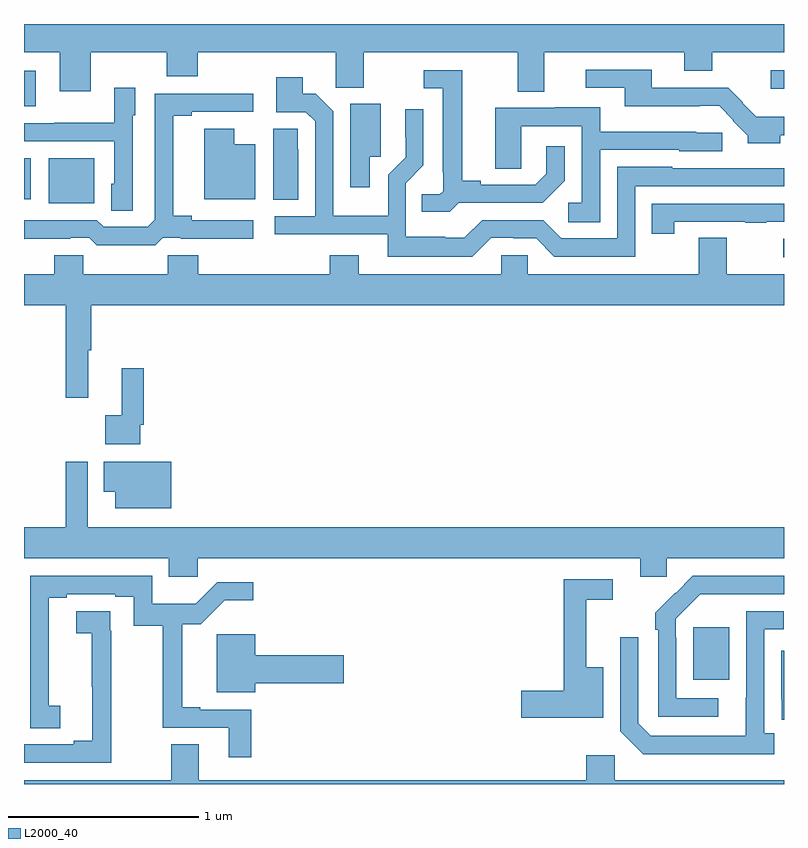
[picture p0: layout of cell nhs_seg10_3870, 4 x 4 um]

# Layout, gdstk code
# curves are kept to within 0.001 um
import gdstk
lib = gdstk.Library(unit=1e-6, precision=1e-09)
def R(c, l, rs):  # rectangles x0, y0, x1, y1
    for r in rs: c.add(gdstk.rectangle(r[:2], r[2:], *l))
def P(c, l, *ps):  # polygons
    for p in ps: c.add(gdstk.Polygon(p, *l))
L2000_40 = (2000, 40)

nhs_seg10_3870 = lib.new_cell('nhs_seg10_3870')
R(nhs_seg10_3870, L2000_40, [(328.523,1261.049,328.711,1261.324), (328.995,1263.273,329,1263.369), (325.13,1263.557,325.369,1263.793), (325,1263.578,325.036,1263.793), (325,1264.068,325.063,1264.255), (328.929,1264.16,329,1264.257)])
P(nhs_seg10_3870, L2000_40, [(325,1264.352),(325.187,1264.352),(325.187,1264.146),(325.351,1264.146),(325.351,1264.352),(325.751,1264.352),(325.751,1264.224),(325.915,1264.224),(325.915,1264.352),(326.64,1264.352),(326.64,1264.165),(326.787,1264.165),(326.787,1264.352),(327.599,1264.352),(327.599,1264.144),(327.739,1264.144),(327.739,1264.352),(328.475,1264.352),(328.475,1264.253),(328.623,1264.253),(328.623,1264.352),(329,1264.352),(329,1264.5),(325,1264.5)],
  [(328.981,1263.915),(329,1263.915),(329,1264.012),(328.855,1264.012),(328.781,1264.085),(328.783,1264.087),(328.707,1264.164),(328.303,1264.164),(328.303,1264.26),(327.957,1264.26),(327.957,1264.164),(328.163,1264.164),(328.163,1264.067),(328.556,1264.067),(328.556,1264.07),(328.658,1264.07),(328.734,1263.993),(328.731,1263.99),(328.81,1263.912),(328.81,1263.872),(328.981,1263.872)],
  [(327.288,1263.558),(327.73,1263.558),(327.846,1263.674),(327.846,1263.856),(327.749,1263.856),(327.749,1263.711),(327.692,1263.654),(327.403,1263.654),(327.403,1263.674),(327.307,1263.674),(327.307,1264.257),(327.105,1264.257),(327.105,1264.161),(327.203,1264.161),(327.203,1263.721),(327.207,1263.721),(327.207,1263.621),(327.189,1263.603),(327.094,1263.603),(327.094,1263.511),(327.24,1263.511)],
  [(327.459,1263.375),(327.576,1263.375),(327.576,1263.372),(327.696,1263.372),(327.792,1263.276),(328.218,1263.276),(328.218,1263.645),(329,1263.645),(329,1263.742),(328.413,1263.741),(328.413,1263.748),(328.122,1263.748),(328.122,1263.372),(327.828,1263.372),(327.732,1263.468),(327.411,1263.468),(327.318,1263.375),(327.218,1263.375),(327.218,1263.379),(327.009,1263.379),(327.009,1263.663),(327.102,1263.756),(327.102,1264.051),(327.006,1264.051),(327.006,1263.904),(327.008,1263.904),(327.008,1263.798),(326.916,1263.706),(326.916,1263.49),(326.628,1263.49),(326.628,1264.041),(326.535,1264.134),(326.467,1264.134),(326.467,1264.219),(326.327,1264.219),(326.327,1264.035),(326.484,1264.035),(326.532,1263.987),(326.532,1263.489),(326.319,1263.489),(326.319,1263.393),(326.915,1263.393),(326.915,1263.275),(327.359,1263.275)],
  [(325.572,1264.02),(325.585,1264.02),(325.585,1264.165),(325.476,1264.165),(325.476,1263.979),(325.159,1263.979),(325.159,1263.978),(325,1263.978),(325,1263.882),(325.476,1263.882),(325.476,1263.66),(325.46,1263.66),(325.46,1263.517),(325.572,1263.517)],
  [(325.731,1263.375),(325.825,1263.375),(325.825,1263.371),(326.206,1263.371),(326.206,1263.468),(325.882,1263.468),(325.882,1263.491),(325.786,1263.491),(325.786,1264.018),(325.882,1264.018),(325.882,1264.038),(326.206,1264.038),(326.206,1264.134),(325.689,1264.134),(325.689,1263.471),(325.65,1263.432),(325.419,1263.432),(325.383,1263.468),(325,1263.468),(325,1263.367),(325.004,1263.371),(325.244,1263.371),(325.244,1263.375),(325.344,1263.375),(325.384,1263.336),(325.691,1263.336)],
  [(326.821,1263.801),(326.878,1263.801),(326.878,1264.08),(326.717,1264.08),(326.717,1263.642),(326.821,1263.642)],
  [(328.032,1263.837),(328.449,1263.837),(328.449,1263.831),(328.674,1263.831),(328.674,1263.927),(328.539,1263.927),(328.539,1263.934),(328.033,1263.934),(328.033,1264.063),(327.797,1264.063),(327.797,1264.059),(327.479,1264.059),(327.479,1263.739),(327.618,1263.739),(327.618,1263.963),(327.936,1263.963),(327.936,1263.558),(327.864,1263.558),(327.864,1263.457),(328.032,1263.457)],
  [(326.443,1263.842),(326.442,1263.842),(326.442,1263.95),(326.312,1263.95),(326.312,1263.574),(326.443,1263.574)],
  [(326.218,1263.868),(326.107,1263.868),(326.107,1263.949),(325.949,1263.949),(325.949,1263.578),(326.218,1263.578)],
  [(328.422,1263.459),(328.795,1263.459),(328.795,1263.454),(328.907,1263.454),(328.907,1263.459),(329,1263.459),(329,1263.555),(328.303,1263.555),(328.303,1263.396),(328.422,1263.396)],
  [(325.337,1262.784),(325.355,1262.784),(325.355,1263.02),(329,1263.02),(329,1263.184),(328.699,1263.184),(328.699,1263.374),(328.552,1263.374),(328.552,1263.184),(327.651,1263.184),(327.651,1263.282),(327.513,1263.282),(327.513,1263.184),(326.761,1263.184),(326.761,1263.283),(326.609,1263.283),(326.609,1263.184),(325.916,1263.184),(325.916,1263.282),(325.756,1263.282),(325.756,1263.184),(325.311,1263.184),(325.311,1263.282),(325.16,1263.282),(325.16,1263.184),(325,1263.184),(325,1263.02),(325.219,1263.02),(325.219,1262.532),(325.337,1262.532)],
  [(325.611,1262.392),(325.631,1262.392),(325.631,1262.689),(325.514,1262.689),(325.514,1262.441),(325.428,1262.441),(325.428,1262.288),(325.611,1262.288)],
  [(325.915,1261.688),(328.244,1261.688),(328.244,1261.59),(328.383,1261.59),(328.383,1261.688),(329,1261.688),(329,1261.852),(325.335,1261.852),(325.335,1262.197),(325.219,1262.197),(325.219,1261.852),(325,1261.852),(325,1261.688),(325.763,1261.688),(325.763,1261.59),(325.915,1261.59)],
  [(325.774,1262.197),(325.42,1262.197),(325.42,1262.039),(325.481,1262.039),(325.481,1261.952),(325.774,1261.952)],
  [(328.654,1260.951),(328.434,1260.951),(328.434,1261.271),(328.431,1261.271),(328.431,1261.371),(328.56,1261.5),(329,1261.5),(329,1261.596),(328.52,1261.596),(328.323,1261.401),(328.323,1261.313),(328.338,1261.313),(328.338,1260.855),(328.654,1260.855)],
  [(326.195,1260.891),(325.927,1260.891),(325.927,1260.904),(325.832,1260.904),(325.832,1261.341),(325.931,1261.341),(326.057,1261.466),(326.206,1261.466),(326.206,1261.563),(326.016,1261.563),(325.903,1261.45),(325.674,1261.45),(325.674,1261.596),(325.032,1261.596),(325.032,1260.793),(325.192,1260.793),(325.192,1260.913),(325.131,1260.913),(325.131,1261.217),(325.129,1261.217),(325.129,1261.48),(325.225,1261.48),(325.225,1261.5),(325.481,1261.5),(325.481,1261.486),(325.578,1261.486),(325.578,1261.333),(325.729,1261.333),(325.729,1260.795),(326.078,1260.795),(326.078,1260.642),(326.195,1260.642)],
  [(328.048,1261.114),(327.959,1261.114),(327.959,1261.47),(328.099,1261.47),(328.099,1261.578),(327.841,1261.578),(327.841,1260.992),(327.618,1260.992),(327.618,1260.85),(328.048,1260.85)],
  [(328.948,1260.766),(328.896,1260.766),(328.896,1261.314),(328.999,1261.314),(328.999,1261.41),(328.8,1261.41),(328.799,1260.753),(328.299,1260.753),(328.233,1260.819),(328.233,1261.273),(328.137,1261.273),(328.137,1260.777),(328.258,1260.656),(328.948,1260.656)],
  [(325.46,1261.307),(325.454,1261.307),(325.454,1261.409),(325.275,1261.409),(325.275,1261.294),(325.357,1261.294),(325.357,1261.011),(325.358,1261.011),(325.358,1260.728),(325.262,1260.728),(325.262,1260.708),(325,1260.708),(325,1260.612),(325.46,1260.612)],
  [(326.218,1261.031),(326.683,1261.031),(326.683,1261.178),(326.218,1261.178),(326.218,1261.288),(326.015,1261.288),(326.015,1260.983),(326.218,1260.983)],
  [(329,1261.201),(328.986,1261.201),(328.986,1260.946),(328.987,1260.946),(328.987,1260.837),(329,1260.837)],
  [(329,1260.52),(328.11,1260.52),(328.11,1260.652),(327.959,1260.652),(327.959,1260.52),(325.921,1260.52),(325.921,1260.71),(325.774,1260.71),(325.774,1260.52),(325,1260.52),(325,1260.5),(329,1260.5)])

lib.write_gds('nhs_seg10_3870.gds')
